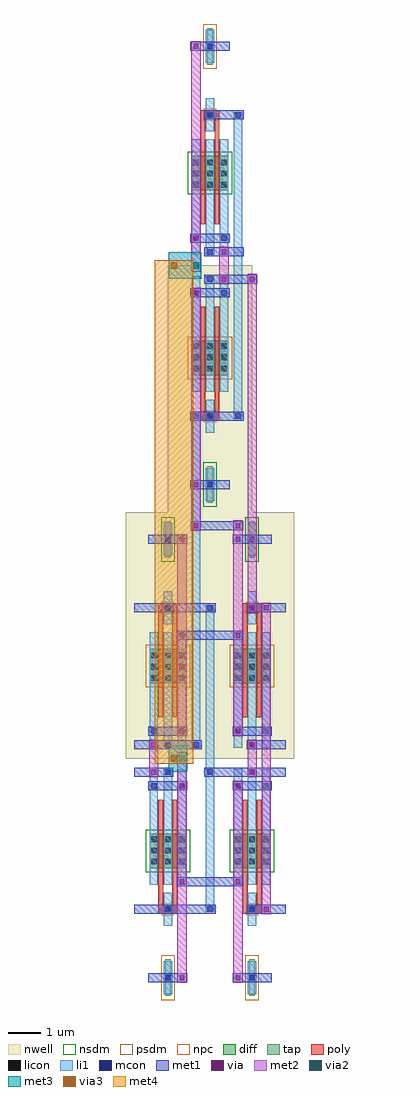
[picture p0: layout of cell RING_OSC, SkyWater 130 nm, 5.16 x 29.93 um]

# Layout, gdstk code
import gdstk
lib = gdstk.Library(unit=1e-6, precision=1e-09)
def R(c, l, rs):  # rectangles x0, y0, x1, y1
    for r in rs: c.add(gdstk.rectangle(r[:2], r[2:], *l))
def A(c, l, x, y, w, h, nx, ny, dx, dy):  # array of equal rectangles
    R(c, l, [(x+i*dx, y+j*dy, x+i*dx+w, y+j*dy+h) for i in range(nx) for j in range(ny)])
nwell = (64, 20)
diff = (65, 20)
tap = (65, 44)
poly = (66, 20)
licon = (66, 44)
li1 = (67, 20)
mcon = (67, 44)
met1 = (68, 20)
via = (68, 44)
met2 = (69, 20)
via2 = (69, 44)
met3 = (70, 20)
via3 = (70, 44)
met4 = (71, 20)
nsdm = (93, 44)
psdm = (94, 20)
npc = (95, 20)

ring_osc = lib.new_cell('RING_OSC')
R(ring_osc, nwell, [(0,7.56,5.16,15.12), (1.29,15.12,3.87,22.68)])
R(ring_osc, diff, [(0.735,4.2,1.845,5.25), (3.315,4.2,4.425,5.25), (0.735,9.87,1.845,10.92), (3.315,9.87,4.425,10.92), (2.025,19.32,3.135,20.37), (2.025,24.99,3.135,26.04)])
R(ring_osc, tap, [(1.205,0.28,1.375,1.4), (3.785,0.28,3.955,1.4), (1.205,13.72,1.375,14.84), (3.785,13.72,3.955,14.84), (2.495,15.4,2.665,16.52), (2.495,28.84,2.665,29.96)])
R(ring_osc, poly, [(1,2.805,1.58,3.075), (3.58,2.805,4.16,3.075), (1,3.075,1.15,6.3), (1.43,3.075,1.58,6.3), (3.58,3.075,3.73,6.3), (4.01,3.075,4.16,6.3), (1,8.82,1.15,12.045), (1.43,8.82,1.58,12.045), (3.58,8.82,3.73,12.045), (4.01,8.82,4.16,12.045), (1,12.045,1.58,12.315), (3.58,12.045,4.16,12.315), (2.29,17.925,2.87,18.195), (2.29,18.195,2.44,21.42), (2.72,18.195,2.87,21.42), (2.29,23.94,2.44,27.165), (2.72,23.94,2.87,27.165), (2.29,27.165,2.87,27.435)])
A(ring_osc, licon, 0.775, 4.32, 0.17, 0.17, 3, 3, 0.43, 0.34)
A(ring_osc, licon, 3.355, 4.32, 0.17, 0.17, 3, 3, 0.43, 0.34)
A(ring_osc, licon, 0.775, 9.95, 0.17, 0.17, 3, 3, 0.43, 0.34)
A(ring_osc, licon, 3.355, 9.95, 0.17, 0.17, 3, 3, 0.43, 0.34)
A(ring_osc, licon, 2.065, 19.44, 0.17, 0.17, 3, 3, 0.43, 0.34)
A(ring_osc, licon, 2.065, 25.07, 0.17, 0.17, 3, 3, 0.43, 0.34)
R(ring_osc, licon, [(1.205,0.755,1.375,0.925), (3.785,0.755,3.955,0.925), (1.205,2.855,1.375,3.025), (3.785,2.855,3.955,3.025), (1.205,12.095,1.375,12.265), (3.785,12.095,3.955,12.265), (1.205,14.195,1.375,14.365), (3.785,14.195,3.955,14.365), (2.495,15.875,2.665,16.045), (2.495,17.975,2.665,18.145), (2.495,27.215,2.665,27.385), (2.495,29.315,2.665,29.485)])
A(ring_osc, li1, 0.735, 3.695, 0.25, 3.53, 3, 2, 0.43, 4.2)
A(ring_osc, li1, 3.315, 3.695, 0.25, 3.53, 3, 2, 0.43, 4.2)
A(ring_osc, li1, 2.025, 18.815, 0.25, 3.53, 3, 2, 0.43, 4.2)
R(ring_osc, li1, [(1.165,0.335,1.415,1.345), (3.745,0.335,3.995,1.345), (1.165,2.435,1.415,3.445), (3.745,2.435,3.995,3.445), (2.455,2.855,2.705,12.265), (2.025,7.895,2.275,18.145), (1.165,11.675,1.415,12.685), (3.745,11.675,3.995,12.685), (1.165,13.775,1.415,14.785), (3.745,13.775,3.995,14.785), (2.455,15.455,2.705,16.465), (2.455,17.555,2.705,18.565), (3.315,17.975,3.565,27.385), (2.455,26.795,2.705,27.805), (2.455,28.895,2.705,29.905)])
A(ring_osc, mcon, 1.205, 2.855, 0.17, 0.17, 3, 2, 1.29, 4.2)
A(ring_osc, mcon, 1.205, 12.095, 0.17, 0.17, 3, 1, 1.29, 0)
R(ring_osc, mcon, [(1.205,0.755,1.375,0.925), (3.785,0.755,3.955,0.925), (0.775,6.635,0.945,6.805), (1.635,6.635,1.805,6.805), (3.355,6.635,3.525,6.805), (4.215,6.635,4.385,6.805), (1.205,7.895,1.375,8.065), (2.065,7.895,2.235,8.065), (3.785,7.895,3.955,8.065), (0.775,8.315,0.945,8.485), (1.635,8.315,1.805,8.485), (3.355,8.315,3.525,8.485), (4.215,8.315,4.385,8.485), (1.205,14.195,1.375,14.365), (3.785,14.195,3.955,14.365), (2.495,15.875,2.665,16.045), (2.065,17.975,2.235,18.145), (2.495,17.975,2.665,18.145), (3.355,17.975,3.525,18.145), (2.065,21.755,2.235,21.925), (2.925,21.755,3.095,21.925), (2.495,22.175,2.665,22.345), (2.495,23.015,2.665,23.185), (2.065,23.435,2.235,23.605), (2.925,23.435,3.095,23.605), (2.495,27.215,2.665,27.385), (3.355,27.215,3.525,27.385), (2.495,29.315,2.665,29.485)])
R(ring_osc, met1, [(0.69,0.7,1.89,0.98), (3.27,0.7,4.47,0.98), (0.26,2.8,2.75,3.08), (3.7,2.8,4.9,3.08), (1.56,3.64,3.6,3.92), (0.69,6.58,1.89,6.86), (3.27,6.58,4.47,6.86), (0.26,7,1.46,7.28), (2.41,7,4.9,7.28), (0.26,7.84,2.32,8.12), (3.7,7.84,4.9,8.12), (0.69,8.26,1.89,8.54), (3.27,8.26,4.47,8.54), (1.56,11.2,3.6,11.48), (0.26,12.04,2.75,12.32), (3.7,12.04,4.9,12.32), (0.69,14.14,1.89,14.42), (3.27,14.14,4.47,14.42), (1.99,14.56,3.6,14.84), (1.98,15.82,3.18,16.1), (1.98,17.92,3.61,18.2), (1.98,21.7,3.18,21.98), (2.41,22.12,4.03,22.4), (2.41,22.96,3.61,23.24), (1.98,23.38,3.18,23.66), (2.41,27.16,3.61,27.44), (1.98,29.26,3.18,29.54)])
A(ring_osc, via, 1.645, 0.765, 0.15, 0.15, 1, 3, 0, 2.94)
A(ring_osc, via, 3.365, 0.765, 0.15, 0.15, 1, 3, 0, 2.94)
A(ring_osc, via, 1.645, 8.325, 0.15, 0.15, 1, 3, 0, 2.94)
A(ring_osc, via, 3.365, 8.325, 0.15, 0.15, 1, 3, 0, 2.94)
R(ring_osc, via, [(4.225,2.865,4.375,3.015), (0.785,7.065,0.935,7.215), (3.795,7.065,3.945,7.215), (0.785,7.905,0.935,8.055), (3.795,7.905,3.945,8.055), (3.795,12.105,3.945,12.255), (4.225,12.105,4.375,12.255), (2.075,14.625,2.225,14.775), (3.365,14.625,3.515,14.775), (2.075,15.885,2.225,16.035), (2.075,21.765,2.225,21.915), (2.935,22.185,3.085,22.335), (3.795,22.185,3.945,22.335), (2.935,23.025,3.085,23.175), (2.075,23.445,2.225,23.595), (2.075,29.325,2.225,29.475)])
R(ring_osc, met2, [(1.58,0.68,1.86,7.745), (3.3,0.68,3.58,6.88), (4.16,2.78,4.44,12.34), (0.72,6.98,1,8.14), (3.73,6.98,4.01,8.14), (1.58,8.24,1.86,14.44), (3.3,8.24,3.58,14.86), (3.73,12.02,4.01,22.42), (2.01,14.54,2.29,22), (2.87,22.1,3.15,23.26), (2.01,22.495,2.29,29.56)])
R(ring_osc, via2, [(1.62,7.46,1.82,7.66), (2.05,22.58,2.25,22.78)])
R(ring_osc, met3, [(1.315,7.16,1.885,7.96), (1.315,22.28,2.315,23.08)])
R(ring_osc, via3, [(1.38,7.46,1.58,7.66), (1.38,22.58,1.58,22.78)])
R(ring_osc, met4, [(0.89,7.395,2.07,22.845)])
R(ring_osc, nsdm, [(0.61,4.075,1.97,5.375), (3.19,4.075,4.55,5.375), (1.08,13.595,1.5,14.965), (3.66,13.595,4.08,14.965), (2.37,15.275,2.79,16.645), (1.9,24.865,3.26,26.165)])
R(ring_osc, psdm, [(1.08,0.155,1.5,1.525), (3.66,0.155,4.08,1.525), (0.61,9.745,1.97,11.045), (3.19,9.745,4.55,11.045), (1.9,19.195,3.26,20.495), (2.37,28.715,2.79,30.085)])
R(ring_osc, npc, [(1.105,2.755,1.475,3.125), (3.685,2.755,4.055,3.125), (1.105,11.995,1.475,12.365), (3.685,11.995,4.055,12.365), (2.395,17.875,2.765,18.245), (2.395,27.115,2.765,27.485)])

lib.write_gds('RING_OSC.gds')
